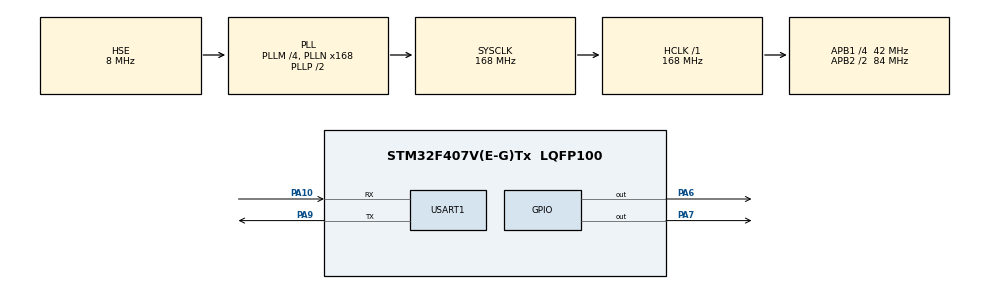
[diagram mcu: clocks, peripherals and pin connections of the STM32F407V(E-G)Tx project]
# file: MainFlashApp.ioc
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Mcu.Family=STM32F4
Mcu.Name=STM32F407V(E-G)Tx
Mcu.Package=LQFP100
NVIC.PriorityGroup=NVIC_PRIORITYGROUP_4
NVIC.TIM4_IRQn=true\:0\:0\:false\:false\:true\:true\:true\:true
NVIC.TIM8_TRG_COM_TIM14_IRQn=true\:15\:0\:false\:false\:true\:false\:true\:true
NVIC.TimeBase=TIM8_TRG_COM_TIM14_IRQn
NVIC.TimeBaseIP=TIM14
NVIC.USART1_IRQn=true\:0\:0\:false\:false\:true\:true\:true\:true
PA10.Mode=Asynchronous
PA10.Signal=USART1_RX
PA13.Mode=Serial_Wire
PA13.Signal=SYS_JTMS-SWDIO
PA14.Mode=Serial_Wire
PA14.Signal=SYS_JTCK-SWCLK
PA6.PinState=GPIO_PIN_SET
PA6.Signal=GPIO_Output
PA7.PinState=GPIO_PIN_SET
PA7.Signal=GPIO_Output
PA9.Mode=Asynchronous
PA9.Signal=USART1_TX
PH0-OSC_IN.Mode=HSE-External-Oscillator
PH0-OSC_IN.Signal=RCC_OSC_IN
PH1-OSC_OUT.Mode=HSE-External-Oscillator
PH1-OSC_OUT.Signal=RCC_OSC_OUT
ProjectManager.HeapSize=0x200
ProjectManager.StackSize=0x400
ProjectManager.TargetToolchain=STM32CubeIDE
RCC.48MHZClocksFreq_Value=84000000
RCC.AHBFreq_Value=168000000
RCC.APB1CLKDivider=RCC_HCLK_DIV4
RCC.APB1Freq_Value=42000000
RCC.APB1TimFreq_Value=84000000
RCC.APB2CLKDivider=RCC_HCLK_DIV2
RCC.APB2Freq_Value=84000000
RCC.APB2TimFreq_Value=168000000
RCC.CortexFreq_Value=168000000
RCC.HCLKFreq_Value=168000000
RCC.HSE_VALUE=8000000
RCC.HSI_VALUE=16000000
RCC.LSE_VALUE=32768
RCC.PLLM=4
RCC.PLLN=168
RCC.PLLSourceVirtual=RCC_PLLSOURCE_HSE
RCC.SYSCLKFreq_VALUE=168000000
RCC.SYSCLKSource=RCC_SYSCLKSOURCE_PLLCLK
RCC.VCOOutputFreq_Value=336000000
TIM4.Period=1000
TIM4.Prescaler=42000-1
USART1.VirtualMode=VM_ASYNC
VP_SYS_VS_tim14.Mode=TIM14
VP_TIM4_VS_ClockSourceINT.Mode=Internal
board=custom

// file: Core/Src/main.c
/* USER CODE BEGIN Header */
/**
  ******************************************************************************
  * @file           : main.c
  * @brief          : Main program body
  ******************************************************************************
  * @attention
  *
  * Copyright (c) 2025 STMicroelectronics.
  * All rights reserved.
  *
  * This software is licensed under terms that can be found in the LICENSE file
  * in the root directory of this software component.
  * If no LICENSE file comes with this software, it is provided AS-IS.
  *
  ******************************************************************************
  */
/* USER CODE END Header */
#include "main.h"

/* USER CODE BEGIN Includes */
#include <stdlib.h>
#include "sys_command_line.h"
#include "bootloader.h"

/* USER CODE END Includes */

TIM_HandleTypeDef htim4;

UART_HandleTypeDef huart1;

void SystemClock_Config(void);
static void MX_GPIO_Init(void);
static void MX_TIM4_Init(void);
static void MX_USART1_UART_Init(void);
/* USER CODE BEGIN PFP */
void init(void);
void loop(void);
uint8_t run_int_flash_app(int argc, char *argv[]);
uint8_t run_ext_flash_app(int argc, char *argv[]);
/* USER CODE END PFP */

/* USER CODE BEGIN 0 */
const char cli_run_int_flash_app[] = "Run internal flash app."
		                             "\n\trun application to work with internal flash";
const char cli_run_ext_flash_app[] = "Run external flash app."
		                             "\n\trun application to work with external flash";

void init()
{
	HAL_TIM_Base_Start_IT(&htim4);

	greet_function = greet; // default greeting banner
	CLI_INIT(&huart1);
	CLI_ADD_CMD("if", cli_run_int_flash_app, run_int_flash_app);
	CLI_ADD_CMD("ef", cli_run_ext_flash_app, run_ext_flash_app);
	cli_log_stat = 0xFFFFFFFF; // Switch on all logs

	return;
}

void loop()
{
	CLI_RUN();

	return;
}

//
uint8_t run_int_flash_app(int argc, char *argv[])
{
	bootloader_jump_to_user_app(FLASH_SECTOR7_BASE_ADDRESS);

	return EXIT_SUCCESS;
}

//
uint8_t run_ext_flash_app(int argc, char *argv[])
{
	bootloader_jump_to_user_app(FLASH_SECTOR6_BASE_ADDRESS);

	return EXIT_SUCCESS;
}
/* USER CODE END 0 */

int main(void)
{

  /* MCU Configuration--------------------------------------------------------*/

  /* Reset of all peripherals, Initializes the Flash interface and the Systick. */
  HAL_Init();

  /* Configure the system clock */
  SystemClock_Config();

  /* Initialize all configured peripherals */
  MX_GPIO_Init();
  MX_TIM4_Init();
  MX_USART1_UART_Init();
  /* USER CODE BEGIN 2 */
  init();

  /* USER CODE END 2 */

  /* Infinite loop */
  /* USER CODE BEGIN WHILE */
  while (1)
  {
	loop();
    /* USER CODE END WHILE */

  }
}

void SystemClock_Config(void)
{
  RCC_OscInitTypeDef RCC_OscInitStruct = {0};
  RCC_ClkInitTypeDef RCC_ClkInitStruct = {0};

  /** Configure the main internal regulator output voltage
  */
  __HAL_RCC_PWR_CLK_ENABLE();
  __HAL_PWR_VOLTAGESCALING_CONFIG(PWR_REGULATOR_VOLTAGE_SCALE1);

  /** Initializes the RCC Oscillators according to the specified parameters
  * in the RCC_OscInitTypeDef structure.
  */
  RCC_OscInitStruct.OscillatorType = RCC_OSCILLATORTYPE_HSE;
  RCC_OscInitStruct.HSEState = RCC_HSE_ON;
  RCC_OscInitStruct.PLL.PLLState = RCC_PLL_ON;
  RCC_OscInitStruct.PLL.PLLSource = RCC_PLLSOURCE_HSE;
  RCC_OscInitStruct.PLL.PLLM = 4;
  RCC_OscInitStruct.PLL.PLLN = 168;
  RCC_OscInitStruct.PLL.PLLP = RCC_PLLP_DIV2;
  RCC_OscInitStruct.PLL.PLLQ = 4;
  if (HAL_RCC_OscConfig(&RCC_OscInitStruct) != HAL_OK)
  {
    Error_Handler();
  }

  /** Initializes the CPU, AHB and APB buses clocks
  */
  RCC_ClkInitStruct.ClockType = RCC_CLOCKTYPE_HCLK|RCC_CLOCKTYPE_SYSCLK
                              |RCC_CLOCKTYPE_PCLK1|RCC_CLOCKTYPE_PCLK2;
  RCC_ClkInitStruct.SYSCLKSource = RCC_SYSCLKSOURCE_PLLCLK;
  RCC_ClkInitStruct.AHBCLKDivider = RCC_SYSCLK_DIV1;
  RCC_ClkInitStruct.APB1CLKDivider = RCC_HCLK_DIV4;
  RCC_ClkInitStruct.APB2CLKDivider = RCC_HCLK_DIV2;

  if (HAL_RCC_ClockConfig(&RCC_ClkInitStruct, FLASH_LATENCY_5) != HAL_OK)
  {
    Error_Handler();
  }
}

static void MX_TIM4_Init(void)
{

  TIM_ClockConfigTypeDef sClockSourceConfig = {0};
  TIM_MasterConfigTypeDef sMasterConfig = {0};

  htim4.Instance = TIM4;
  htim4.Init.Prescaler = 42000-1;
  htim4.Init.CounterMode = TIM_COUNTERMODE_UP;
  htim4.Init.Period = 1000;
  htim4.Init.ClockDivision = TIM_CLOCKDIVISION_DIV1;
  htim4.Init.AutoReloadPreload = TIM_AUTORELOAD_PRELOAD_DISABLE;
  if (HAL_TIM_Base_Init(&htim4) != HAL_OK)
  {
    Error_Handler();
  }
  sClockSourceConfig.ClockSource = TIM_CLOCKSOURCE_INTERNAL;
  if (HAL_TIM_ConfigClockSource(&htim4, &sClockSourceConfig) != HAL_OK)
  {
    Error_Handler();
  }
  sMasterConfig.MasterOutputTrigger = TIM_TRGO_RESET;
  sMasterConfig.MasterSlaveMode = TIM_MASTERSLAVEMODE_DISABLE;
  if (HAL_TIMEx_MasterConfigSynchronization(&htim4, &sMasterConfig) != HAL_OK)
  {
    Error_Handler();
  }

}

static void MX_USART1_UART_Init(void)
{

  huart1.Instance = USART1;
  huart1.Init.BaudRate = 115200;
  huart1.Init.WordLength = UART_WORDLENGTH_8B;
  huart1.Init.StopBits = UART_STOPBITS_1;
  huart1.Init.Parity = UART_PARITY_NONE;
  huart1.Init.Mode = UART_MODE_TX_RX;
  huart1.Init.HwFlowCtl = UART_HWCONTROL_NONE;
  huart1.Init.OverSampling = UART_OVERSAMPLING_16;
  if (HAL_UART_Init(&huart1) != HAL_OK)
  {
    Error_Handler();
  }

}

static void MX_GPIO_Init(void)
{
  GPIO_InitTypeDef GPIO_InitStruct = {0};

  /* GPIO Ports Clock Enable */
  __HAL_RCC_GPIOH_CLK_ENABLE();
  __HAL_RCC_GPIOA_CLK_ENABLE();

  /*Configure GPIO pin Output Level */
  HAL_GPIO_WritePin(GPIOA, GPIO_PIN_6|GPIO_PIN_7, GPIO_PIN_SET);

  /*Configure GPIO pins : PA6 PA7 */
  GPIO_InitStruct.Pin = GPIO_PIN_6|GPIO_PIN_7;
  GPIO_InitStruct.Mode = GPIO_MODE_OUTPUT_PP;
  GPIO_InitStruct.Pull = GPIO_NOPULL;
  GPIO_InitStruct.Speed = GPIO_SPEED_FREQ_LOW;
  HAL_GPIO_Init(GPIOA, &GPIO_InitStruct);

}

void HAL_TIM_PeriodElapsedCallback(TIM_HandleTypeDef *htim)
{
  if (htim->Instance == TIM14)
  {
    HAL_IncTick();
  }
  /* USER CODE BEGIN Callback 1 */
  if (htim->Instance == TIM4)
  {
    HAL_GPIO_TogglePin(GPIOA, GPIO_PIN_6);
  }

  /* USER CODE END Callback 1 */
}

void Error_Handler(void)
{
  __disable_irq();
  while (1)
  {
  }
}
